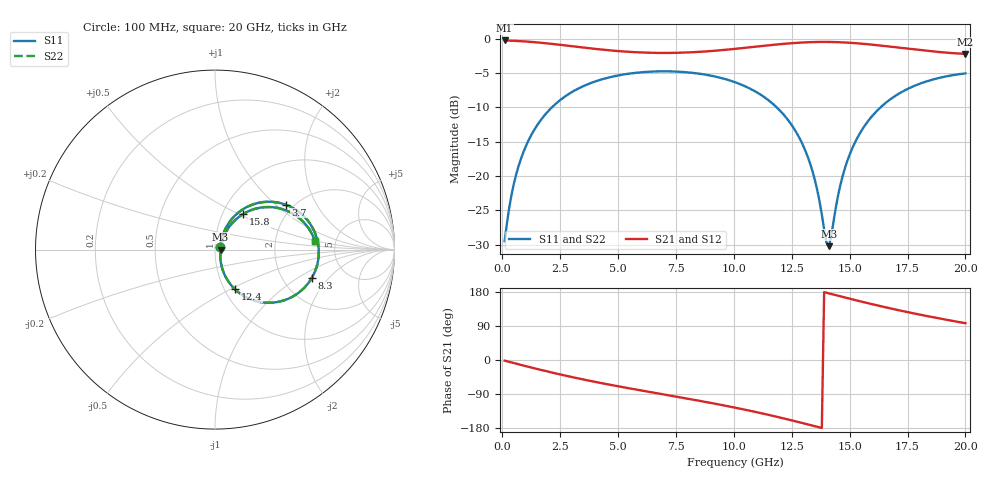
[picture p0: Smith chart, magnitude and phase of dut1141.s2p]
! Touchstone file exported from HFSS 2026.1.0
!  File:  C:/ffzhzh/LocalFiles/Ansys_Project_Files/temp_train_TSV_RDL_1141_1783309098_38820.aedt
!  Generated:  11:52:41 AM Jul  6, 2026
!  Design:  TSV_RDL
!  Project:  temp_train_TSV_RDL_1141_1783309098_38820
! Variables:
!  h_bsmrdl = 2.85um
!  h_ox = 20um
!  h_rdl = 5um
!  h_sub = 98.93um
!  h_tmrdl = 3.58um
!  h_tsv = 98.93um
!  h_via = 3um
!  l_bsmrdl = 579.06um
!  l_sub = 4193.76um
!  l_tmrdl = 480.86um
!  m_sub = 200um
!  pitch = 49.37um
!  r_tsv = 2.88um
!  s_tmrdl = 10um
!  w_bsmrdl = 16.95um
!  w_sub = 500um
!  w_tmrdl = 27.43um
!  x_tsv_center1 = 494.575um
!  x_tsv_center2 = 1090.585um
!  x_tsv_center3 = 1598.875um
!  x_tsv_center4 = 2194.885um
!  x_tsv_center5 = 2703.175um
!  x_tsv_center6 = 3299.185um
# GHz S MA R 50.000000
! Terminal data exported
! Port[1] = TM_RDL1_1_T1
! Port[2] = TM_RDL5_1_T1
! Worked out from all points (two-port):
!   200 points, 100 MHz to 20 GHz, reference 50 ohm
!   highest |S21| = -0.25 dB at 100 MHz (marker M1); lowest = -2.2 dB at 20 GHz (marker M2)
!   |S21| within 3 dB of the highest: start of sweep to end of sweep
!   lowest |S11| = -30.2 dB at 14.1 GHz (marker M3), VSWR 1.06, Z = 53.2 + j0.0592 ohm
!   |S11| at or under -10 dB: start of sweep to 2.143 GHz; 11.85 GHz to 16.34 GHz (4.487 GHz wide, 31.8 % of centre)
!   |S22| runs from -30.2 to -4.8 dB; largest |S21 - S12| = 1.7e-14
!   S11 on the Smith chart (normalised r, x): 100 MHz: 1.06, +0.04; 3.7 GHz: 1.82, +1.16; 8.3 GHz: 2.88, -1.33; 12.4 GHz: 1.12, -0.53; 15.8 GHz: 1.25, +0.53; 20 GHz: 3.45, +0.49
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0.1  0.03344 29.6  0.9713 -1.7  0.9713 -1.7  0.03344 29.6
! Gamma 0 0 0 0
! Port Impedance 50 0 50 0
0.5  0.08775 61.2  0.9652 -8.1  0.9652 -8.1  0.08775 61.2
1.2  0.1911 61.4  0.9493 -19.0  0.9493 -19.0  0.1911 61.4
2.2  0.3231 50.5  0.9146 -33.9  0.9146 -33.9  0.3231 50.5
3.5  0.4512 34.8  0.862 -51.4  0.862 -51.4  0.4512 34.8
3.7  0.4664 32.5  0.8544 -53.9  0.8544 -53.9  0.4664 32.5
5.3  0.5508 14.7  0.806 -72.7  0.806 -72.7  0.5508 14.7
6.8  0.5783 -0.9  0.7879 -89.0  0.7879 -89.0  0.5783 -0.9
8.3  0.5618 -16.4  0.7985 -105.3  0.7985 -105.3  0.5618 -16.4
10.1  0.4786 -36.1  0.845 -126.3  0.845 -126.3  0.4786 -36.1
11.4  0.3663 -51.6  0.8919 -143.4  0.8919 -143.4  0.3663 -51.6
12.4  0.2478 -63.3  0.925 -157.8  0.925 -157.8  0.2478 -63.3
13.4  0.1077 -68.8  0.9451 -173.1  0.9451 -173.1  0.1078 -68.8
13.7  0.06532 -62.0  0.9474 -177.8  0.9474 -177.8  0.06536 -61.9
14  0.03268 -25.3  0.9476 177.4  0.9476 177.4  0.03276 -25.3
14.1  0.03075 1.0  0.9473 175.9  0.9473 175.9  0.03083 1.0
14.5  0.07178 52.8  0.9437 169.6  0.9437 169.6  0.07181 52.7
14.8  0.1142 57.9  0.9388 164.9  0.9388 164.9  0.1142 57.9
15.8  0.2514 51.8  0.9111 149.8  0.9111 149.8  0.2514 51.8
16.7  0.3559 41.5  0.8773 137.0  0.8773 137.0  0.3559 41.5
18.2  0.481 24.2  0.8205 117.7  0.8205 117.7  0.481 24.2
20  0.5585 5.1  0.7751 97.1  0.7751 97.1  0.5585 5.0
